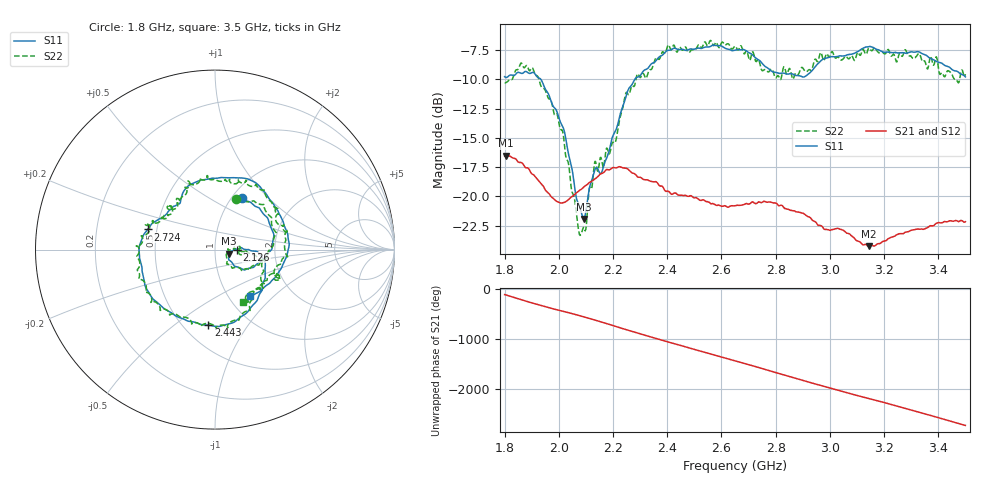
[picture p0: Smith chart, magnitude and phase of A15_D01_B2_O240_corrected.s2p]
! Created with skrf 1.9.0 (http://scikit-rf.org).
# Hz S RI R 50.0
!freq ReS11 ImS11 ReS21 ImS21 ReS12 ImS12 ReS22 ImS22
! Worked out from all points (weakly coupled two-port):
!   1601 points, 1.8 GHz to 3.5 GHz, reference 50 ohm
!   highest |S21| = -16.53 dB at 1.805 GHz (marker M1); lowest = -24.2 dB at 3.144 GHz (marker M2)
!   lowest |S11| = -21.9 dB at 2.092 GHz (marker M3), VSWR 1.17, Z = 58.3 - j2.56 ohm
!   |S11| at or under -10 dB: 1.933 GHz to 2.28 GHz (347 MHz wide, 16.5 % of centre)
!   |S22| runs from -23.3 to -6.7 dB; largest |S21 - S12| = 0.0029
!   S11 on the Smith chart (normalised r, x): 1.8 GHz: 1.11, +0.71; 2.126 GHz: 1.28, +0.00; 2.443 GHz: 0.65, -0.67; 2.724 GHz: 0.44, +0.12; 3.5 GHz: 1.24, -0.72
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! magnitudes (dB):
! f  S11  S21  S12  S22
! 1.8 GHz  -9.8  -16.6  -16.6  -10.3
! 1.805 GHz  -9.8  -16.5  -16.6  -10.3
! 1.865 GHz  -9.5  -17.2  -17.2  -8.7
! 1.912 GHz  -9.5  -18.3  -18.3  -9.6
! 1.968 GHz  -11.6  -19.9  -19.9  -11.7
! 2.013 GHz  -14.0  -20.6  -20.6  -14.4
! 2.072 GHz  -20.6  -19.6  -19.6  -22.7
! 2.084 GHz  -21.4  -19.4  -19.3  -23.1
! 2.092 GHz  -21.9  -19.2  -19.3  -22.7
! 2.126 GHz  -18.3  -18.6  -18.6  -18.4
! 2.161 GHz  -17.7  -18.0  -17.9  -17.4
! 2.209 GHz  -14.4  -17.6  -17.5  -15.3
! 2.259 GHz  -10.8  -17.8  -17.8  -11.3
! 2.367 GHz  -8.2  -19.0  -18.9  -8.3
! 2.443 GHz  -7.5  -19.9  -19.9  -7.3
! 2.65 GHz  -7.5  -20.8  -20.8  -7.2
! 2.724 GHz  -8.1  -20.6  -20.6  -8.4
! 2.812 GHz  -9.5  -20.8  -20.7  -9.8
! 2.934 GHz  -9.3  -22.0  -22.0  -9.2
! 3.144 GHz  -7.2  -24.2  -24.2  -7.3
! 3.217 GHz  -7.7  -23.6  -23.6  -7.5
! 3.5 GHz  -9.8  -22.2  -22.2  -9.6
